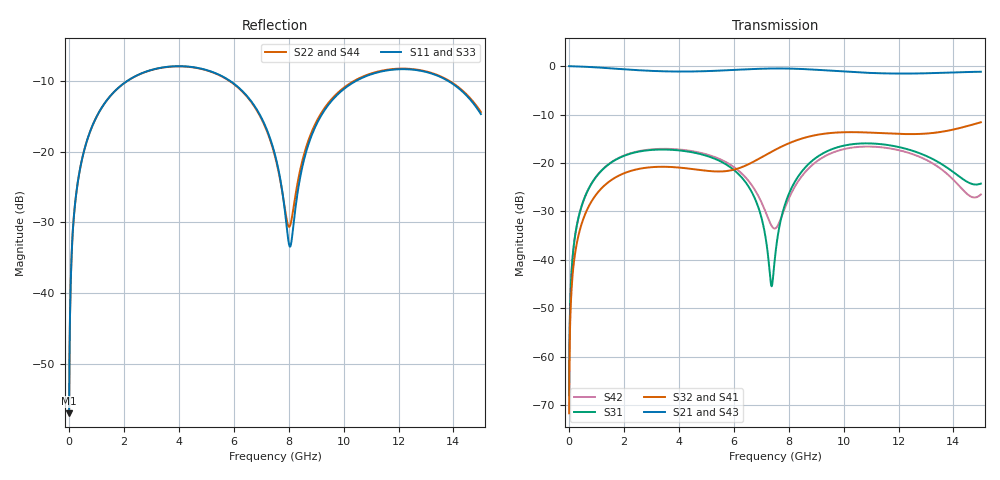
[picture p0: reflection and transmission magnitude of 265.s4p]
! Created with skrf 1.8.0 (http://scikit-rf.org).
# GHz S RI R 50.0
!freq ReS11 ImS11 ReS12 ImS12 ReS13 ImS13
! ReS14 ImS14
! ReS21 ImS21 ReS22 ImS22 ReS23 ImS23
! ReS24 ImS24
! ReS31 ImS31 ReS32 ImS32 ReS33 ImS33
! ReS34 ImS34
! ReS41 ImS41 ReS42 ImS42 ReS43 ImS43
! ReS44 ImS44
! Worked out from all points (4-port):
!   2499 points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, 5 MHz to 15 GHz, reference 50 ohm
!   strongest paths, dB at 5 MHz, 3.476 GHz, 7.19 GHz, 11.1 GHz, 15 GHz:
!     S21: 0.0, -1.1, -0.5, -1.4, -1.2
!     S43: 0.0, -1.1, -0.5, -1.4, -1.2
!     S32: -71.7, -20.8, -18.3, -13.8, -11.6
!     S41: -71.7, -20.8, -18.3, -13.8, -11.6
!     S31: -68.0, -17.2, -36.5, -16.0, -24.3
!     S42: -68.0, -17.1, -30.5, -16.6, -26.5
!   lowest |S11| = -57.0 dB at 5 MHz (marker M1), VSWR 1.00, Z = 50.1 + j0.0864 ohm
!   |S11| at or under -10 dB: start of sweep to 2.124 GHz; 5.864 GHz to 10.45 GHz (4.589 GHz wide, 56.3 % of centre); 13.81 GHz to end of sweep
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0.005  0.00112 0.000862  0.9989 -0.00219  5.34e-05 0.000395  -5.22e-05 -0.000254
       0.9989 -0.00219  0.00112 0.000862  -5.22e-05 -0.000254  5.34e-05 0.000395
       5.34e-05 0.000395  -5.22e-05 -0.000254  0.00112 0.000862  0.9989 -0.00219
       -5.22e-05 -0.000254  5.34e-05 0.000395  0.9989 -0.00219  0.00112 0.000862
0.4126719  0.0192 0.0749  0.9736 -0.1798  0.00796 0.0313  -0.00679 -0.02
           0.9736 -0.1798  0.0192 0.0749  -0.0068 -0.02  0.00817 0.0313
           0.00796 0.0313  -0.0068 -0.02  0.0192 0.0749  0.9736 -0.1798
           -0.00679 -0.02  0.00817 0.0313  0.9736 -0.1798  0.0192 0.0749
2.025844  0.2379 0.1937  0.6204 -0.6882  0.1012 0.0628  -0.0768 -0.0168
          0.6204 -0.6882  0.2369 0.1943  -0.0769 -0.0167  0.1042 0.0595
          0.1012 0.0628  -0.0769 -0.0167  0.2378 0.1937  0.6204 -0.6882
          -0.0768 -0.0168  0.1042 0.0595  0.6204 -0.6882  0.2369 0.1943
7.378074  0.0482 -0.1049  -0.8957 -0.3015  0.00532 0.000255  -0.0386 0.1248
          -0.8957 -0.3015  0.0547 -0.0987  -0.0365 0.1254  -0.0204 -0.00943
          0.00532 0.000255  -0.0365 0.1254  0.0496 -0.1045  -0.8958 -0.3013
          -0.0386 0.1248  -0.0204 -0.00943  -0.8958 -0.3013  0.0532 -0.0992
8.103376  0.0219 0.00805  -0.942 -0.0177  0.0214 0.0506  0.000697 0.1639
          -0.942 -0.0177  0.0304 0.0129  0.00329 0.1638  -0.00607 0.0487
          0.0214 0.0506  0.00329 0.1638  0.0236 0.00802  -0.942 -0.0174
          0.000697 0.1639  -0.00607 0.0487  -0.942 -0.0174  0.0286 0.0131
10.22926  0.2435 0.1712  -0.5934 0.6379  0.1524 0.0284  0.1798 0.1037
          -0.5934 0.6379  0.2525 0.1683  0.182 0.1009  0.1363 0.043
          0.1524 0.0284  0.182 0.1009  0.2448 0.17  -0.5928 0.6381
          0.1798 0.1037  0.1363 0.043  -0.5928 0.6381  0.2524 0.1702
15  0.1279 -0.1329  0.7382 0.4689  -0.0612 0.00142  0.1447 -0.2201
    0.7382 0.4689  0.1327 -0.1368  0.1378 -0.2241  -0.0461 0.0105
    -0.0612 0.00142  0.1378 -0.2241  0.1314 -0.1338  0.7378 0.4687
    0.1447 -0.2201  -0.0461 0.0105  0.7378 0.4687  0.1317 -0.1394
